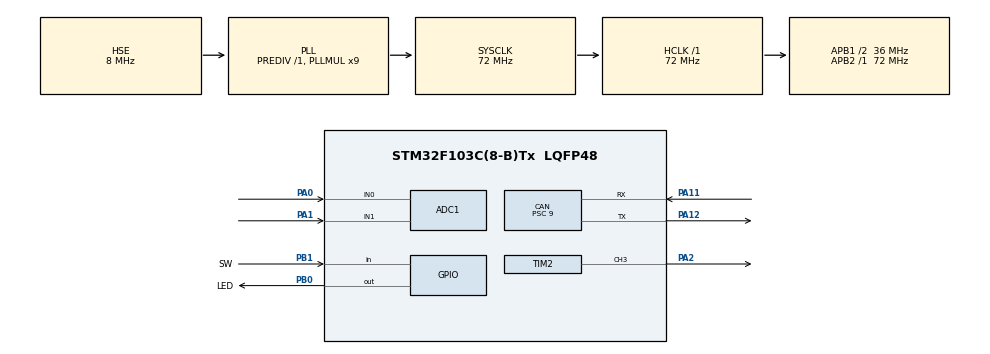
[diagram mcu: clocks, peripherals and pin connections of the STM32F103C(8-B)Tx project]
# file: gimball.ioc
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ADC1.Channel-0\#ChannelRegularConversion=ADC_CHANNEL_0
ADC1.NbrOfConversionFlag=1
ADC1.Rank-0\#ChannelRegularConversion=1
ADC1.SamplingTime-0\#ChannelRegularConversion=ADC_SAMPLETIME_1CYCLE_5
ADC1.master=1
CAN.ABOM=ENABLE
CAN.BS1=CAN_BS1_11TQ
CAN.BS2=CAN_BS2_4TQ
CAN.CalculateBaudRate=250000
CAN.CalculateTimeBit=4000
CAN.CalculateTimeQuantum=250.0
CAN.Prescaler=9
CAN.SJW=CAN_SJW_4TQ
CAN.TXFP=ENABLE
FREERTOS.Tasks01=CAN_Send,24,128,StartCAN_SendTask,Default,NULL,Dynamic,NULL,NULL;CAN_Recv,24,256,StartCAN_RecvTask,Default,NULL,Dynamic,NULL,NULL;CAN_HB,8,128,StartCAN_HBTask,Default,NULL,Dynamic,NULL,NULL;Joystick,8,128,StartJoystickTask,Default,NULL,Dynamic,NULL,NULL;Servo,24,128,StartServoTask,Default,NULL,Dynamic,NULL,NULL;LED,8,128,StartLEDTask,Default,NULL,Dynamic,NULL,NULL
FREERTOS.configTOTAL_HEAP_SIZE=15360
Mcu.Family=STM32F1
Mcu.Name=STM32F103C(8-B)Tx
Mcu.Package=LQFP48
NVIC.CAN1_SCE_IRQn=true\:5\:0\:false\:false\:true\:true\:true\:true\:true
NVIC.PriorityGroup=NVIC_PRIORITYGROUP_4
NVIC.TIM1_UP_IRQn=true\:15\:0\:false\:false\:true\:false\:false\:true\:true
NVIC.TimeBase=TIM1_UP_IRQn
NVIC.TimeBaseIP=TIM1
NVIC.USB_HP_CAN1_TX_IRQn=true\:5\:0\:false\:false\:true\:true\:true\:true\:true
NVIC.USB_LP_CAN1_RX0_IRQn=true\:5\:0\:false\:false\:true\:true\:true\:true\:true
PA0-WKUP.Signal=ADCx_IN0
PA1.Signal=ADCx_IN1
PA11.Mode=CAN_Activate
PA11.Signal=CAN_RX
PA12.Mode=CAN_Activate
PA12.Signal=CAN_TX
PA13.Mode=Serial_Wire
PA13.Signal=SYS_JTMS-SWDIO
PA14.Mode=Serial_Wire
PA14.Signal=SYS_JTCK-SWCLK
PA2.Signal=S_TIM2_CH3
PB0.GPIO_Label=LED
PB0.PinState=GPIO_PIN_SET
PB0.Signal=GPIO_Output
PB1.GPIO_Label=SW
PB1.GPIO_PuPd=GPIO_PULLUP
PB1.Signal=GPIO_Input
PD0-OSC_IN.Mode=HSE-External-Oscillator
PD0-OSC_IN.Signal=RCC_OSC_IN
PD1-OSC_OUT.Mode=HSE-External-Oscillator
PD1-OSC_OUT.Signal=RCC_OSC_OUT
ProjectManager.HeapSize=0x200
ProjectManager.StackSize=0x400
ProjectManager.TargetToolchain=STM32CubeIDE
RCC.ADCPresc=RCC_ADCPCLK2_DIV6
RCC.AHBFreq_Value=72000000
RCC.APB1CLKDivider=RCC_HCLK_DIV2
RCC.APB1Freq_Value=36000000
RCC.APB1TimFreq_Value=72000000
RCC.APB2Freq_Value=72000000
RCC.APB2TimFreq_Value=72000000
RCC.HCLKFreq_Value=72000000
RCC.PLLMUL=RCC_PLL_MUL9
RCC.PLLSourceVirtual=RCC_PLLSOURCE_HSE
RCC.SYSCLKFreq_VALUE=72000000
RCC.SYSCLKSource=RCC_SYSCLKSOURCE_PLLCLK
RCC.USBFreq_Value=72000000
SH.ADCx_IN0.0=ADC1_IN0,IN0
SH.ADCx_IN1.0=ADC1_IN1,IN1
SH.S_TIM2_CH3.0=TIM2_CH3,PWM Generation3 CH3
TIM2.Channel-PWM\ Generation3\ CH3=TIM_CHANNEL_3
TIM2.Period=19999
TIM2.Prescaler=71
TIM2.TIM_MasterSlaveMode=TIM_MASTERSLAVEMODE_DISABLE
VP_FREERTOS_VS_CMSIS_V2.Mode=CMSIS_V2
VP_SYS_VS_tim1.Mode=TIM1
VP_TIM2_VS_ClockSourceINT.Mode=Internal
board=custom

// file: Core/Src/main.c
/* USER CODE BEGIN Header */
/**
  ******************************************************************************
  * @file           : main.c
  * @brief          : Main program body
  ******************************************************************************
  * @attention
  *
  * Copyright (c) 2026 STMicroelectronics.
  * All rights reserved.
  *
  * This software is licensed under terms that can be found in the LICENSE file
  * in the root directory of this software component.
  * If no LICENSE file comes with this software, it is provided AS-IS.
  *
  ******************************************************************************
  */
/* USER CODE END Header */
#include "main.h"
#include "cmsis_os.h"
#include "adc.h"
#include "can.h"
#include "tim.h"
#include "gpio.h"

/* USER CODE BEGIN Includes */
#include "system_task_init.h"
/* USER CODE END Includes */

void SystemClock_Config(void);
void MX_FREERTOS_Init(void);

int main(void)
{

  /* MCU Configuration--------------------------------------------------------*/

  /* Reset of all peripherals, Initializes the Flash interface and the Systick. */
  HAL_Init();

  /* Configure the system clock */
  SystemClock_Config();

  /* Initialize all configured peripherals */
  MX_GPIO_Init();
  MX_ADC1_Init();
  MX_CAN_Init();
  MX_TIM2_Init();
  /* USER CODE BEGIN 2 */
  System_Periph_Init();
  /* USER CODE END 2 */

  /* Init scheduler */
  osKernelInitialize();  /* Call init function for freertos objects (in cmsis_os2.c) */
  MX_FREERTOS_Init();

  /* Start scheduler */
  osKernelStart();

  /* We should never get here as control is now taken by the scheduler */

  /* Infinite loop */
  while (1)
  {

  }
}

void SystemClock_Config(void)
{
  RCC_OscInitTypeDef RCC_OscInitStruct = {0};
  RCC_ClkInitTypeDef RCC_ClkInitStruct = {0};
  RCC_PeriphCLKInitTypeDef PeriphClkInit = {0};

  /** Initializes the RCC Oscillators according to the specified parameters
  * in the RCC_OscInitTypeDef structure.
  */
  RCC_OscInitStruct.OscillatorType = RCC_OSCILLATORTYPE_HSE;
  RCC_OscInitStruct.HSEState = RCC_HSE_ON;
  RCC_OscInitStruct.HSEPredivValue = RCC_HSE_PREDIV_DIV1;
  RCC_OscInitStruct.HSIState = RCC_HSI_ON;
  RCC_OscInitStruct.PLL.PLLState = RCC_PLL_ON;
  RCC_OscInitStruct.PLL.PLLSource = RCC_PLLSOURCE_HSE;
  RCC_OscInitStruct.PLL.PLLMUL = RCC_PLL_MUL9;
  if (HAL_RCC_OscConfig(&RCC_OscInitStruct) != HAL_OK)
  {
    Error_Handler();
  }

  /** Initializes the CPU, AHB and APB buses clocks
  */
  RCC_ClkInitStruct.ClockType = RCC_CLOCKTYPE_HCLK|RCC_CLOCKTYPE_SYSCLK
                              |RCC_CLOCKTYPE_PCLK1|RCC_CLOCKTYPE_PCLK2;
  RCC_ClkInitStruct.SYSCLKSource = RCC_SYSCLKSOURCE_PLLCLK;
  RCC_ClkInitStruct.AHBCLKDivider = RCC_SYSCLK_DIV1;
  RCC_ClkInitStruct.APB1CLKDivider = RCC_HCLK_DIV2;
  RCC_ClkInitStruct.APB2CLKDivider = RCC_HCLK_DIV1;

  if (HAL_RCC_ClockConfig(&RCC_ClkInitStruct, FLASH_LATENCY_2) != HAL_OK)
  {
    Error_Handler();
  }
  PeriphClkInit.PeriphClockSelection = RCC_PERIPHCLK_ADC;
  PeriphClkInit.AdcClockSelection = RCC_ADCPCLK2_DIV6;
  if (HAL_RCCEx_PeriphCLKConfig(&PeriphClkInit) != HAL_OK)
  {
    Error_Handler();
  }
}

void HAL_TIM_PeriodElapsedCallback(TIM_HandleTypeDef *htim)
{
  if (htim->Instance == TIM1)
  {
    HAL_IncTick();
  }
}

void Error_Handler(void)
{
  __disable_irq();
  while (1)
  {
  }
}

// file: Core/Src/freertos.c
/* USER CODE BEGIN Header */
/**
  ******************************************************************************
  * File Name          : freertos.c
  * Description        : Code for freertos applications
  ******************************************************************************
  * @attention
  *
  * Copyright (c) 2026 STMicroelectronics.
  * All rights reserved.
  *
  * This software is licensed under terms that can be found in the LICENSE file
  * in the root directory of this software component.
  * If no LICENSE file comes with this software, it is provided AS-IS.
  *
  ******************************************************************************
  */
/* USER CODE END Header */

#include "FreeRTOS.h"
#include "task.h"
#include "main.h"
#include "cmsis_os.h"
#include "bsp_can.h"
#include "bsp_joystick.h"
#include "bsp_servo.h"
#include "can_app.h"
#include "can_protocol.h"
#include "LED.h"
#include "servo_control.h"
#include "system_task_init.h"

/* USER CODE BEGIN PD */
#define CAN_HEARTBEAT_MASK 0xFFU
#define CAN_SLOW_SEND_PERIOD_MS 100U
#define SELF_TEST_PHASE_DURATION_MS 1000U

/* USER CODE END PD */

/* USER CODE BEGIN Variables */
static uint8_t g_self_test_active = 0U;
static const uint8_t breath_table[LED_PWM_RESOLUTION] = {
  0,  3,  6,  9, 12, 15, 18, 21, 24, 27,
 30, 33, 36, 39, 42, 45, 48, 50, 53, 55,
 58, 60, 63, 65, 67, 69, 71, 73, 75, 76,
 78, 79, 80, 81, 82, 83, 84, 84, 85, 85,
 86, 86, 86, 86, 86, 86, 86, 85, 85, 84,
 84, 83, 82, 81, 80, 79, 78, 76, 75, 73,
 71, 69, 67, 65, 63, 60, 58, 55, 53, 50,
 48, 45, 42, 39, 36, 33, 30, 27, 24, 21,
 18, 15, 12,  9,  6,  3,  0,  0,  0,  0,
  0,  0,  0,  0,  0,  0,  0,  0,  0,  0,
};

/* USER CODE END Variables */
/* Definitions for CAN_Send */
osThreadId_t CAN_SendHandle;
const osThreadAttr_t CAN_Send_attributes = {
  .name = "CAN_Send",
  .stack_size = 128 * 4,
  .priority = (osPriority_t) osPriorityNormal,
};
/* Definitions for CAN_Recv */
osThreadId_t CAN_RecvHandle;
const osThreadAttr_t CAN_Recv_attributes = {
  .name = "CAN_Recv",
  .stack_size = 256 * 4,
  .priority = (osPriority_t) osPriorityNormal,
};
/* Definitions for CAN_HB */
osThreadId_t CAN_HBHandle;
const osThreadAttr_t CAN_HB_attributes = {
  .name = "CAN_HB",
  .stack_size = 128 * 4,
  .priority = (osPriority_t) osPriorityLow,
};
/* Definitions for Joystick */
osThreadId_t JoystickHandle;
const osThreadAttr_t Joystick_attributes = {
  .name = "Joystick",
  .stack_size = 128 * 4,
  .priority = (osPriority_t) osPriorityLow,
};
/* Definitions for Servo */
osThreadId_t ServoHandle;
const osThreadAttr_t Servo_attributes = {
  .name = "Servo",
  .stack_size = 128 * 4,
  .priority = (osPriority_t) osPriorityNormal,
};
/* Definitions for LED */
osThreadId_t LEDHandle;
const osThreadAttr_t LED_attributes = {
  .name = "LED",
  .stack_size = 128 * 4,
  .priority = (osPriority_t) osPriorityLow,
};

/* USER CODE BEGIN FunctionPrototypes */
static void SelfTest_Execute(void);
/* USER CODE END FunctionPrototypes */

void StartCAN_SendTask(void *argument);
void StartCAN_RecvTask(void *argument);
void StartCAN_HBTask(void *argument);
void StartJoystickTask(void *argument);
void StartServoTask(void *argument);
void StartLEDTask(void *argument);

void MX_FREERTOS_Init(void); /* (MISRA C 2004 rule 8.1) */

void MX_FREERTOS_Init(void) {

  /* Create the thread(s) */
  /* creation of CAN_Send */
  CAN_SendHandle = osThreadNew(StartCAN_SendTask, NULL, &CAN_Send_attributes);

  /* creation of CAN_Recv */
  CAN_RecvHandle = osThreadNew(StartCAN_RecvTask, NULL, &CAN_Recv_attributes);

  /* creation of CAN_HB */
  CAN_HBHandle = osThreadNew(StartCAN_HBTask, NULL, &CAN_HB_attributes);

  /* creation of Joystick */
  JoystickHandle = osThreadNew(StartJoystickTask, NULL, &Joystick_attributes);

  /* creation of Servo */
  ServoHandle = osThreadNew(StartServoTask, NULL, &Servo_attributes);

  /* creation of LED */
  LEDHandle = osThreadNew(StartLEDTask, NULL, &LED_attributes);

}

void StartCAN_SendTask(void *argument)
{
  /* USER CODE BEGIN StartCAN_SendTask */
  (void)argument;
  uint8_t tx_data[8];
  TickType_t xLastWakeTime = xTaskGetTickCount();
  /* Infinite loop */
  for(;;)
  {
    /* slow 100ms send when no peer to avoid Bus-Off; 10ms when connected */
    uint32_t period = g_can_state.can_comm_ok
                    ? CAN_SEND_PERIOD_MS : CAN_SLOW_SEND_PERIOD_MS;
    vTaskDelayUntil(&xLastWakeTime, pdMS_TO_TICKS(period));
    taskENTER_CRITICAL();
    g_can_state.gimbal_ctrl.gimbal_heartbeat = g_can_state.gimbal_heartbeat;
    GimbalCtrlMsg_t ctrl = g_can_state.gimbal_ctrl;
    taskEXIT_CRITICAL();
    Protocol_EncodeGimbalCtrl(&ctrl, tx_data);
    HAL_StatusTypeDef status = BSP_CAN_SendMessage(CAN_GIMBAL_TO_CHASSIS_ID, tx_data, CAN_TX_TIMEOUT);
    taskENTER_CRITICAL();
    g_can_state.gimbal_heartbeat = (g_can_state.gimbal_heartbeat + 1U) & CAN_HEARTBEAT_MASK;
    taskEXIT_CRITICAL();
    if (status == HAL_OK) g_can_state.can_tx_cnt++;
    osDelay(1);
  }
  /* USER CODE END StartCAN_SendTask */
}

void StartCAN_RecvTask(void *argument)
{
  /* USER CODE BEGIN StartCAN_RecvTask */
  (void)argument;
  BSP_CAN_RxMsg_t rx_msg;
  /* Infinite loop */
  for(;;)
  {
    if (BSP_CAN_GetRxMessage(&rx_msg) == 0U) {
      vTaskDelay(pdMS_TO_TICKS(1));
      continue;
    }
    if (rx_msg.header.StdId == CAN_CHASSIS_TO_GIMBAL_ID) {
      taskENTER_CRITICAL();
      Protocol_DecodeChassisFeedback(rx_msg.data, &g_can_state.chassis_feedback_rx);
      g_can_state.chassis_fb_updated = 1U;
      g_can_state.last_chassis_rx_time = HAL_GetTick();
      g_can_state.can_rx_cnt++;
      if (g_can_state.chassis_feedback_rx.chassis_heartbeat != g_can_state.last_chassis_hb) {
        g_can_state.last_chassis_hb = g_can_state.chassis_feedback_rx.chassis_heartbeat;
        g_can_state.chassis_online = 1U;
      }
      taskEXIT_CRITICAL();
    }
    osDelay(1);
  }
  /* USER CODE END StartCAN_RecvTask */
}

void StartCAN_HBTask(void *argument)
{
  /* USER CODE BEGIN StartCAN_HBTask */
  (void)argument;
  TickType_t xLastWakeTime = xTaskGetTickCount();
  vTaskDelay(pdMS_TO_TICKS(500));
  /* Infinite loop */
  for(;;)
  {
    vTaskDelayUntil(&xLastWakeTime, pdMS_TO_TICKS(50));
    uint32_t now = HAL_GetTick();
    uint8_t prev_comm_ok = g_can_state.can_comm_ok;
    uint8_t comm_ok = 1U;
    if ((now - g_can_state.last_chassis_rx_time) > CAN_HEARTBEAT_TIMEOUT) {
      g_can_state.chassis_online = 0U;
      comm_ok = 0U;
    }
    g_can_state.can_comm_ok = comm_ok;
    if (prev_comm_ok != comm_ok) {
      taskENTER_CRITICAL();
      if (comm_ok)
        g_can_state.gimbal_ctrl.status_flags &= ~STATUS_CAN_ERROR;
      else
        g_can_state.gimbal_ctrl.status_flags |= STATUS_CAN_ERROR;
      taskEXIT_CRITICAL();
    }
    osDelay(1);
  }
  /* USER CODE END StartCAN_HBTask */
}

void StartJoystickTask(void *argument)
{
  /* USER CODE BEGIN StartJoystickTask */
  (void)argument;
  /* Calibrate joystick centre (keep sticks untouched during power-up) */
  BSP_Joystick_Calibrate();
  TickType_t xLastWakeTime = xTaskGetTickCount();
  /* Infinite loop */
  for(;;)
  {
    vTaskDelayUntil(&xLastWakeTime, pdMS_TO_TICKS(JOYSTICK_SAMPLE_PERIOD_MS));
    if (!g_self_test_active && BSP_Joystick_IsSWPressed()) {
      g_self_test_active = 1U;
      SelfTest_Execute();
      g_self_test_active = 0U;
      continue;
    }
    if (g_self_test_active) {
      continue;
    }
    int8_t x_percent = BSP_Joystick_GetXPercent();
    int8_t y_percent = BSP_Joystick_GetYPercent();
    int16_t servo_rpm = (int16_t)((float)x_percent / 100.0f * SERVO_MAX_SPEED_RPM);
    int16_t wheel_rpm = (int16_t)((float)y_percent / 100.0f * WHEEL_MAX_RPM);
    ServoControl_SetSpeed(x_percent);
    CAN_App_SetGimbalCtrl(servo_rpm, wheel_rpm);
    osDelay(1);
  }
  /* USER CODE END StartJoystickTask */
}

void StartServoTask(void *argument)
{
  /* USER CODE BEGIN StartServoTask */
  (void)argument;
  TickType_t xLastWakeTime = xTaskGetTickCount();
  /* Infinite loop */
  for(;;)
  {
    vTaskDelayUntil(&xLastWakeTime, pdMS_TO_TICKS(SERVO_CTRL_PERIOD_MS));
    int8_t speed = g_servo.target_speed;
    BSP_Servo_SetSpeed(speed);
    osDelay(1);
  }
  /* USER CODE END StartServoTask */
}

void StartLEDTask(void *argument)
{
  /* USER CODE BEGIN StartLEDTask */
  (void)argument;
  LED_StartBlink();   /* 3 power-on blinks via vTaskDelay (no NOP spin) */
  uint8_t breath_idx = 0U;
  uint8_t should_breath = 0U;
  /* Infinite loop */
  for(;;)
  {
    if (g_self_test_active) {
      vTaskDelay(pdMS_TO_TICKS(50));
      continue;
    }
    should_breath = g_can_state.can_comm_ok ? 0U : 1U;
    if (should_breath) {
      /* software PWM breathing using breath_table */
      uint8_t level = breath_table[breath_idx];
      uint32_t on_ms  = (uint32_t)level * LED_BREATH_STEP_MS / 100U;
      uint32_t off_ms = LED_BREATH_STEP_MS - on_ms;
      if (on_ms > 0U) {
        HAL_GPIO_WritePin(LED_GPIO_Port, LED_Pin, GPIO_PIN_SET);
        vTaskDelay(pdMS_TO_TICKS(on_ms));
      }
      if (off_ms > 0U) {
        HAL_GPIO_WritePin(LED_GPIO_Port, LED_Pin, GPIO_PIN_RESET);
        vTaskDelay(pdMS_TO_TICKS(off_ms));
      }
      breath_idx++;
      if (breath_idx >= LED_PWM_RESOLUTION) breath_idx = 0U;
    } else {
      HAL_GPIO_WritePin(LED_GPIO_Port, LED_Pin, GPIO_PIN_SET);
      vTaskDelay(pdMS_TO_TICKS(200));
      breath_idx = 0U;
    }
    osDelay(1);
  }
  /* USER CODE END StartLEDTask */
}

/* USER CODE BEGIN Application */
static void SelfTest_Execute(void)
{
  CAN_App_SetStatusFlag(STATUS_SELF_TEST, 1U);
  for (int i = 0; i < 3; i++) {
    HAL_GPIO_WritePin(LED_GPIO_Port, LED_Pin, GPIO_PIN_RESET);
    vTaskDelay(pdMS_TO_TICKS(150));
    HAL_GPIO_WritePin(LED_GPIO_Port, LED_Pin, GPIO_PIN_SET);
    vTaskDelay(pdMS_TO_TICKS(150));
  }
  CAN_App_SetGimbalCtrl(-60, 0);
  BSP_Servo_SetSpeed(-80);
  vTaskDelay(pdMS_TO_TICKS(SELF_TEST_PHASE_DURATION_MS));
  BSP_Servo_SetSpeed(80);
  vTaskDelay(pdMS_TO_TICKS(SELF_TEST_PHASE_DURATION_MS));
  BSP_Servo_SetSpeed(0);
  vTaskDelay(pdMS_TO_TICKS(500));
  CAN_App_SetGimbalCtrl(0, 100);
  vTaskDelay(pdMS_TO_TICKS(SELF_TEST_PHASE_DURATION_MS));
  CAN_App_SetGimbalCtrl(0, -100);
  vTaskDelay(pdMS_TO_TICKS(SELF_TEST_PHASE_DURATION_MS));
  CAN_App_SetGimbalCtrl(0, 0);
  CAN_App_SetStatusFlag(STATUS_SELF_TEST, 0U);
  HAL_GPIO_WritePin(LED_GPIO_Port, LED_Pin, GPIO_PIN_SET);
}

/* USER CODE END Application */
